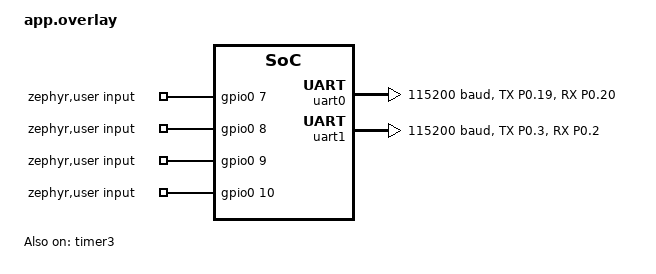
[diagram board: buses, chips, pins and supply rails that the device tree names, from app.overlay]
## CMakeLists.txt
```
# SPDX-License-Identifier: Apache-2.0

cmake_minimum_required(VERSION 3.20.0)
find_package(Zephyr REQUIRED HINTS $ENV{ZEPHYR_BASE})
project(NRF_LOGIC)

target_sources(app PRIVATE
    src/main.c
    src/th_ringbuffer.c
)
```

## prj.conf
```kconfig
CONFIG_LOG=y
CONFIG_GPIO=y
CONFIG_SERIAL=y
CONFIG_REBOOT=y
# CONFIG_UART_INTERRUPT_DRIVEN=y

CONFIG_UART_ASYNC_API=y


CONFIG_COUNTER=y
```

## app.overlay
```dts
/ {
    chosen {
        zephyr,console    = &uart0;
        zephyr,shell-uart = &uart0;
    };

    zephyr,user {
        input-gpios = <&gpio0 7 (GPIO_ACTIVE_HIGH)>,
                      <&gpio0 8 (GPIO_ACTIVE_HIGH)>,
                      <&gpio0 9 (GPIO_ACTIVE_HIGH)>,
                      <&gpio0 10 (GPIO_ACTIVE_HIGH)>;
    };
};

&pinctrl {
    uart0_default: uart0_default {
        group1 {
            psels = <NRF_PSEL(UART_TX, 0, 19)>,
                    <NRF_PSEL(UART_RX, 0, 20)>;
            /* psels = <NRF_PSEL(UART_TX, 0, 3)>, */
            /*         <NRF_PSEL(UART_RX, 0, 2)>; */
        };
    };

    uart1_default: uart1_default {
        group1 {
            psels = <NRF_PSEL(UART_TX, 0, 3)>,
                    <NRF_PSEL(UART_RX, 0, 2)>;
            /* psels = <NRF_PSEL(UART_TX, 0, 19)>, */
            /*         <NRF_PSEL(UART_RX, 0, 20)>; */
        };
    };

};

&uart0 {
    status = "okay";
    current-speed = <115200>;
    pinctrl-0 = <&uart0_default>;
    pinctrl-names = "default";
    /delete-property/ pinctrl-1;
};

&uart1 {
    status = "okay";
    current-speed = <115200>;
    pinctrl-0 = <&uart1_default>;
    pinctrl-names = "default";
    /delete-property/ pinctrl-1;
    // Must run at the highest priority interrupt
    // so it can always reply to commands.
    interrupts = <40 1>;
};

&timer3 {
    status = "okay";
    prescaler = <4>; // 16Mhz / 2^4 = 1MHZ or 1 us;
    interrupts = <26 2>; // I want this to be only preemtible by UART1
};
```

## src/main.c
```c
#include <stdio.h>
#include <stdlib.h>
#include <stdint.h>
#include <string.h>
#include <stdbool.h>

#include <zephyr/kernel.h>
#include <zephyr/device.h>
#include <zephyr/toolchain.h>
#include <zephyr/devicetree.h>

#include <zephyr/sys/util.h>
#include <zephyr/sys/printk.h>
#include <zephyr/sys/reboot.h>
#include <zephyr/sys/util_macro.h>
#include <zephyr/sys/time_units.h>

#include <zephyr/drivers/uart.h>
#include <zephyr/drivers/gpio.h>
#include <zephyr/drivers/counter.h>

#include <zephyr/logging/log.h>
#include <zephyr/logging/log_core.h>

#include "th_ringbuffer.h"

LOG_MODULE_REGISTER(TH_1_LOGIC, LOG_LEVEL_INF);

// report dev is just the UART log to output data on
// dev is what communicates with sigrok
static const struct device *report_dev = DEVICE_DT_GET(DT_NODELABEL(uart0));
static const struct device *dev = DEVICE_DT_GET(DT_NODELABEL(uart1));

// 1Mhz timer
static const struct device *const counter_dev = DEVICE_DT_GET(DT_NODELABEL(timer3));

// inputs
#define USER_NODE DT_PATH(zephyr_user)
static const struct gpio_dt_spec inputs[] = {
    GPIO_DT_SPEC_GET_BY_IDX(USER_NODE, input_gpios, 0),
    GPIO_DT_SPEC_GET_BY_IDX(USER_NODE, input_gpios, 1),
    GPIO_DT_SPEC_GET_BY_IDX(USER_NODE, input_gpios, 2),
    GPIO_DT_SPEC_GET_BY_IDX(USER_NODE, input_gpios, 3),
};
#define INPUT_PINS_MASK (BIT(inputs[0].pin) | BIT(inputs[1].pin) |  BIT(inputs[2].pin) | BIT(inputs[3].pin))
gpio_port_value_t input_port;

// DMA command buffer is only 1 byte so it can
// trigger an interrupt as soon as it receives
// anything.
// This is effectively copying the interrupt 
// driven uart method, but I need to use DMA
// uart for other parts of the system.
static uint8_t command_buf[1];

#define LONG_COMMAND_BUF_LEN 5
static volatile uint8_t c_buf_index = 0;
static volatile uint8_t long_command_buf[LONG_COMMAND_BUF_LEN];


bool record_complete = false;


void check_respond_command(char command_byte);
void write_uart(uint8_t *msg, size_t len, const struct device *dev);
void write_uart_log(uint8_t *msg, size_t len, const struct device *dev);
static void dev_command_cb(const struct device *cb_dev, struct uart_event *evt, void *unused1);

static void counter_1mhz_isr(const struct device *unused1, void *unused2);



int main()
{

    int err;
    if (!(err = device_is_ready(report_dev)))
    {
        LOG_ERR("Reporting serial connection not ready!");
        return -1;
    }

    if (!(err = device_is_ready(dev)))
    {
        LOG_ERR("Signal serial connection not ready!");
        return -1;
    }

    if ((err = uart_callback_set(dev, dev_command_cb, NULL)) != 0)
    {
        LOG_ERR("Failed to configure SUMP command callback! (err: %d)", err);
        return -1;
    }

    if ((err = uart_rx_enable(dev, command_buf, sizeof(command_buf), SYS_FOREVER_US)) != 0)
    {
        LOG_ERR("Failed to register SUMP command callback! (err: %d)", err);
        return -1;
    }

    LOG_INF("System Initialised!");


    if (!(err = device_is_ready(counter_dev)))
    {
        LOG_ERR("Counter device is not ready! (err: %d)", err);
        return -1;
    }
    struct counter_top_cfg top_cfg = {
        .ticks = 1,
        .callback = counter_1mhz_isr,
        .user_data = NULL,
        .flags = COUNTER_TOP_CFG_RESET_WHEN_LATE
    };

    counter_set_top_value(counter_dev, &top_cfg);
    LOG_INF("Counter initialised!");


    for (int i = 0; i < ARRAY_SIZE(inputs); i++)
    {
        if (!(err = gpio_is_ready_dt(&inputs[i])))
        {
            LOG_ERR("Input GPIO pin %d is not ready! (err: %d)", i, err);
            return -1;
        }

        if ((err = gpio_pin_configure_dt(&inputs[i], GPIO_INPUT)) != 0)
        {
            LOG_ERR("Failed to configure GPIO pin %d! (err: %d)", i, err);
            return err;
        }
    }
    LOG_INF("All pins initialised!");


    while (1)
    {
        if (record_complete)
        {
            uint8_t recorded_buf[100];
            ring_buffer_read(recorded_buf, 96);
            record_complete = false;
        }
        else
        {
            k_msleep(100);
        }
    }

}


// irq callback for each char sent from sigrok
static void dev_command_cb(const struct device *cb_dev, struct uart_event *evt, void *unused1)
{
    ARG_UNUSED(unused1);
    switch (evt->type)
    {
        // buffer full (ie got one byte)
        case UART_RX_RDY:
            check_respond_command(command_buf[0]);
            break;
        case UART_RX_BUF_REQUEST:
            uart_rx_buf_rsp(cb_dev, command_buf, sizeof(command_buf));
            break;
        default:
            break;
    }
}


void check_respond_command(char command_byte)
{
    long_command_buf[c_buf_index++] = command_byte;

    switch (long_command_buf[0])
    {
        case 0x00:
            // Rebooting takes too long. Just need to
            // reset all variables here.
            counter_stop(counter_dev);
            ring_buffer_clear();
            record_complete = false;
            goto RESET_CMD_BUF;

        case 0x01:
            counter_start(counter_dev);
            goto RESET_CMD_BUF;

        case 0x02:
            write_uart_log((uint8_t[]){'1', 'A', 'L', 'S'}, 4, dev);
            goto RESET_CMD_BUF;

        case 0x04:
            write_uart_log((uint8_t[]){
                0x01, 'T', 'H', '-', '1', '-', 'L', 'O', 'G', 'I', 'C', 0x00,
                0x23, 0x00, 0x00, 0x00, 0x64,
                0x21, 0x00, 0x00, 0x01, 0x90,
                0x40, 0x04,
                0x00
            }, 25, dev);
            goto RESET_CMD_BUF;


        case 0x05:
        case 0x06:
        case 0x07:
            LOG_WRN("Unimplemented command! (c=%d)", command_buf[0]);
            goto RESET_CMD_BUF;
        case 0xC0:
        case 0xC1:
        case 0xC2:
        case 0xC4:
        case 0xC5:
        case 0xC6:
        case 0xC8:
        case 0xC9:
        case 0xCA:
        case 0xCC:
        case 0xCD:
        case 0xCE:
        case 0x80:
        case 0x81:
        case 0x82:
            /* LOG_WRN("Unimplemented long command! (c=%02x)", command_buf[0]); */
            if (c_buf_index == 5)
                goto RESET_CMD_BUF;
            break;
        default:
            LOG_WRN("Invalid command sent! (c=%d)", command_buf[0]);
            goto RESET_CMD_BUF;
    }

    return;

RESET_CMD_BUF:
    LOG_HEXDUMP_INF((uint8_t*)long_command_buf, c_buf_index, "Received command:");
    memset((uint8_t *)long_command_buf, 0, LONG_COMMAND_BUF_LEN);
    c_buf_index = 0;
    return;

}

void write_uart(uint8_t *msg, size_t len, const struct device *tdev)
{
    uart_tx(dev, msg, len, SYS_FOREVER_US);
}


void write_uart_log(uint8_t *msg, size_t len, const struct device *tdev)
{
    uart_tx(dev, msg, len, SYS_FOREVER_US);
    LOG_HEXDUMP_INF((uint8_t*)msg, len, "Replied with:");
}


static void counter_1mhz_isr(const struct device *unused1, void *unused2)
{
    ARG_UNUSED(unused1);
    ARG_UNUSED(unused2);

    // tmp since we just hard record only 96 atm
    if (ringbuffer_index > 96)
    {
        record_complete = true;
        counter_stop(counter_dev);
    }

    gpio_port_get_raw(inputs[0].port, &input_port);
    ring_buffer_write_one(((uint8_t)(input_port & INPUT_PINS_MASK)));
}
```

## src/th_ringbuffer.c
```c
#include <stdint.h>
#include <string.h>
#include <zephyr/kernel.h>

#include <zephyr/logging/log.h>
#include <zephyr/logging/log_core.h>

#include "th_ringbuffer.h"

LOG_MODULE_REGISTER(TH_RINGBUFFER, LOG_LEVEL_INF);

int ringbuffer_index;
uint8_t ringbuffer[RINGBUFFER_SIZE];


uint8_t ring_buffer_clear()
{
    ringbuffer_index = 0;
    memset(ringbuffer, 0, RINGBUFFER_SIZE);
    return 0;
}


// returns the new index
int ring_buffer_write(uint8_t *buf, int write_size)
{
    if (write_size >= RINGBUFFER_SIZE)
        return -1;

    int i = 0;
    while (i < write_size)
    {
        ringbuffer[ringbuffer_index] = buf[i++];
        ringbuffer_index = (ringbuffer_index+1) % (RINGBUFFER_SIZE-1);
    }
    return ringbuffer_index;
}

int ring_buffer_write_one(uint8_t byte)
{
    ringbuffer[ringbuffer_index] = byte;
    ringbuffer_index = (ringbuffer_index+1) % (RINGBUFFER_SIZE-1);
    return ringbuffer_index;
}

int ring_buffer_read(uint8_t* retbuf, int read_size)
{
    if (read_size <= 0 || read_size > RINGBUFFER_SIZE)
        return -1;

    int i = 0;
    int ringpointer = ((ringbuffer_index - read_size) % RINGBUFFER_SIZE + RINGBUFFER_SIZE) % RINGBUFFER_SIZE;
    while (i < read_size)
    {
        retbuf[i++] = ringbuffer[ringpointer];
        ringpointer = (ringpointer + 1) % RINGBUFFER_SIZE;
    }
    return 0;
}
```

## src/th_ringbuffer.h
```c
#ifndef TH_RINGBUFFER_H
#define TH_RINGBUFFER_H

#include <stdint.h>

#define RINGBUFFER_SIZE 50000
extern int ringbuffer_index;
extern uint8_t ringbuffer[RINGBUFFER_SIZE];

uint8_t ring_buffer_clear();
int ring_buffer_write_one(uint8_t byte);
int ring_buffer_write(uint8_t *buf, int write_size);
int ring_buffer_read(uint8_t* retbuf, int read_size);

#endif
```
